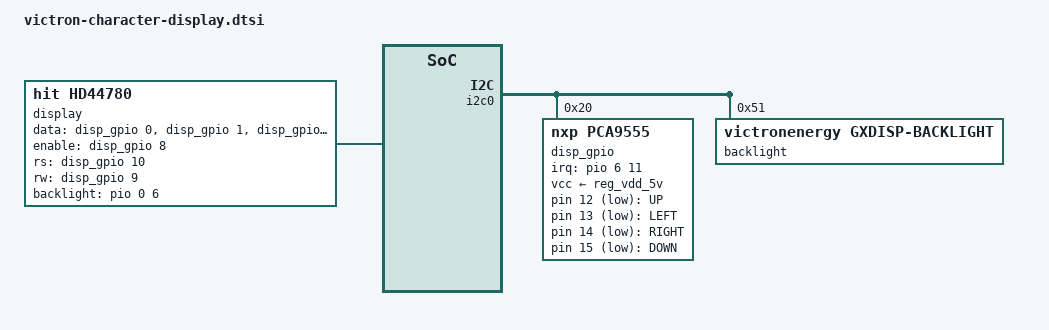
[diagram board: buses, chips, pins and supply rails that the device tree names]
// SPDX-License-Identifier: GPL-2.0 OR X11
/*
 * Copyright (C) 2018 Mans Rullgard <mans@mansr.com>
 */

#include <dt-bindings/input/input.h>

/ {
	display {
		compatible = "hit,hd44780";

		data-gpios = <&disp_gpio 0 GPIO_ACTIVE_HIGH>,
			     <&disp_gpio 1 GPIO_ACTIVE_HIGH>,
			     <&disp_gpio 2 GPIO_ACTIVE_HIGH>,
			     <&disp_gpio 3 GPIO_ACTIVE_HIGH>,
			     <&disp_gpio 4 GPIO_ACTIVE_HIGH>,
			     <&disp_gpio 5 GPIO_ACTIVE_HIGH>,
			     <&disp_gpio 6 GPIO_ACTIVE_HIGH>,
			     <&disp_gpio 7 GPIO_ACTIVE_HIGH>;
		enable-gpios = <&disp_gpio 8 GPIO_ACTIVE_HIGH>;
		rs-gpios = <&disp_gpio 10 GPIO_ACTIVE_HIGH>;
		rw-gpios = <&disp_gpio 9 GPIO_ACTIVE_HIGH>;

		backlight-gpios = <&pio 0 6 GPIO_ACTIVE_HIGH>;

		display-height-chars = <2>;
		display-width-chars = <16>;
	};

	disp_keys {
		compatible = "gpio-keys";

		key-up {
			label = "UP";
			linux,code = <KEY_UP>;
			gpios = <&disp_gpio 12 GPIO_ACTIVE_LOW>;
		};

		key-left {
			label = "LEFT";
			linux,code = <KEY_LEFT>;
			gpios = <&disp_gpio 13 GPIO_ACTIVE_LOW>;
		};

		key-right {
			label = "RIGHT";
			linux,code = <KEY_RIGHT>;
			gpios = <&disp_gpio 14 GPIO_ACTIVE_LOW>;
		};

		key-down {
			label = "DOWN";
			linux,code = <KEY_DOWN>;
			gpios = <&disp_gpio 15 GPIO_ACTIVE_LOW>;
		};
	};
};

&i2c0 {
	disp_gpio: gpio@20 {
		compatible = "nxp,pca9555";
		reg = <0x20>;
		interrupt-parent = <&pio>;
		interrupts = <6 11 IRQ_TYPE_LEVEL_LOW>;
		gpio-controller;
		#gpio-cells = <2>;
		interrupt-controller;
		#interrupt-cells = <2>;
		gpio-line-names = "display_sensor";
		gpio-line-numbers = <11>;
		vcc-supply = <&reg_vdd_5v>;
	};

	backlight@51 {
		compatible = "victronenergy,gxdisp-backlight";
		reg = <0x51>;
		default-on;
		default-brightness = <15>;
	};
};
